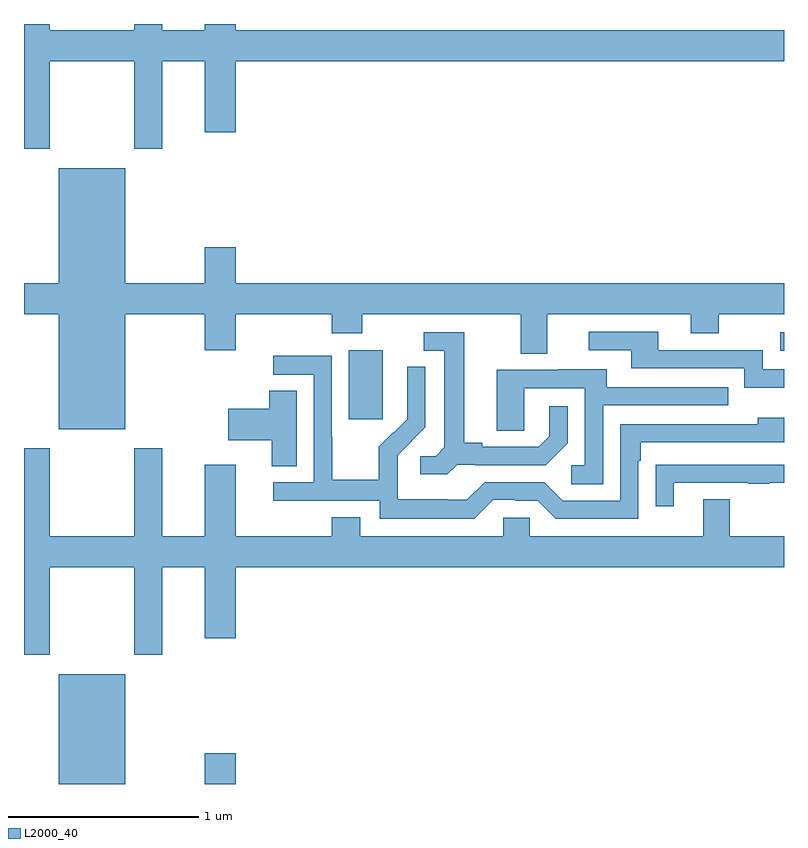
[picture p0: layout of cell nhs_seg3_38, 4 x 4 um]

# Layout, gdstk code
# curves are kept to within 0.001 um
import gdstk
lib = gdstk.Library(unit=1e-6, precision=1e-09)
def R(c, l, rs):  # rectangles x0, y0, x1, y1
    for r in rs: c.add(gdstk.rectangle(r[:2], r[2:], *l))
def P(c, l, *ps):  # polygons
    for p in ps: c.add(gdstk.Polygon(p, *l))
L2000_40 = (2000, 40)

nhs_seg3_38 = lib.new_cell('nhs_seg3_38')
R(nhs_seg3_38, L2000_40, [(111.182,742.4,111.532,742.978), (111.95,742.4,112.114,742.561), (112.709,744.321,112.888,744.682), (114.981,744.681,115,744.777)])
P(nhs_seg3_38, L2000_40, [(111.135,746.204),(111.58,746.204),(111.58,745.743),(111.727,745.743),(111.727,746.204),(111.95,746.204),(111.95,745.83),(112.114,745.83),(112.114,746.204),(115,746.204),(115,746.368),(112.114,746.368),(112.114,746.4),(111.95,746.4),(111.95,746.368),(111.727,746.368),(111.727,746.4),(111.58,746.4),(111.58,746.368),(111.135,746.368),(111.135,746.4),(111,746.4),(111,745.743),(111.135,745.743)],
  [(111.532,744.872),(111.95,744.872),(111.95,744.684),(112.114,744.684),(112.114,744.872),(112.619,744.872),(112.619,744.773),(112.779,744.773),(112.779,744.872),(113.615,744.872),(113.615,744.664),(113.755,744.664),(113.755,744.872),(114.509,744.872),(114.509,744.773),(114.657,744.773),(114.657,744.872),(115,744.872),(115,745.036),(112.114,745.036),(112.114,745.225),(111.95,745.225),(111.95,745.036),(111.532,745.036),(111.532,745.642),(111.182,745.642),(111.182,745.036),(111,745.036),(111,744.872),(111.182,744.872),(111.182,744.266),(111.532,744.266)],
  [(115,744.582),(114.888,744.582),(114.888,744.684),(114.337,744.684),(114.337,744.78),(113.973,744.78),(113.973,744.684),(114.197,744.684),(114.197,744.588),(114.792,744.588),(114.792,744.485),(115,744.485)],
  [(113.28,744.081),(113.374,744.081),(113.374,744.078),(113.746,744.078),(113.862,744.194),(113.862,744.388),(113.765,744.388),(113.765,744.231),(113.708,744.174),(113.413,744.174),(113.413,744.197),(113.317,744.197),(113.317,744.777),(113.103,744.777),(113.103,744.681),(113.213,744.681),(113.213,744.173),(113.166,744.126),(113.085,744.126),(113.085,744.029),(113.228,744.029)],
  [(113.469,743.895),(113.585,743.895),(113.585,743.892),(113.703,743.892),(113.799,743.796),(114.234,743.796),(114.234,744.101),(114.247,744.101),(114.247,744.198),(115,744.198),(115,744.328),(114.863,744.328),(114.863,744.294),(114.138,744.294),(114.138,743.892),(113.835,743.892),(113.739,743.988),(113.424,743.988),(113.331,743.895),(113.231,743.895),(113.231,743.899),(112.968,743.899),(112.968,744.033),(112.966,744.033),(112.966,744.13),(113.112,744.278),(113.112,744.596),(113.016,744.596),(113.016,744.442),(113.018,744.442),(113.018,744.32),(112.947,744.249),(112.944,744.252),(112.867,744.175),(112.867,744.001),(112.623,744.001),(112.623,744.224),(112.62,744.224),(112.62,744.654),(112.311,744.654),(112.311,744.555),(112.524,744.555),(112.524,743.988),(112.311,743.988),(112.311,743.892),(112.872,743.892),(112.872,743.795),(113.369,743.795)],
  [(114.048,744.393),(114.707,744.393),(114.707,744.489),(114.067,744.489),(114.067,744.583),(113.813,744.583),(113.813,744.579),(113.489,744.579),(113.489,744.259),(113.634,744.259),(113.634,744.483),(113.952,744.483),(113.952,744.078),(113.88,744.078),(113.88,743.977),(114.048,743.977)],
  [(112.435,744.47),(112.292,744.47),(112.292,744.375),(112.074,744.375),(112.074,744.209),(112.304,744.209),(112.304,744.073),(112.435,744.073)],
  [(111.135,743.54),(111.58,743.54),(111.58,743.079),(111.727,743.079),(111.727,743.54),(111.95,743.54),(111.95,743.166),(112.114,743.166),(112.114,743.54),(115,743.54),(115,743.704),(114.715,743.704),(114.715,743.899),(114.575,743.899),(114.575,743.704),(113.661,743.704),(113.661,743.802),(113.523,743.802),(113.523,743.704),(112.771,743.704),(112.771,743.803),(112.619,743.803),(112.619,743.704),(112.114,743.704),(112.114,744.079),(111.95,744.079),(111.95,743.704),(111.727,743.704),(111.727,744.166),(111.58,744.166),(111.58,743.704),(111.135,743.704),(111.135,744.166),(111,744.166),(111,743.079),(111.135,743.079)],
  [(114.421,743.985),(114.811,743.985),(114.811,743.98),(114.923,743.98),(114.923,743.985),(115,743.985),(115,744.081),(114.427,744.081),(114.427,744.08),(114.325,744.08),(114.325,743.862),(114.421,743.862)])

lib.write_gds('nhs_seg3_38.gds')
